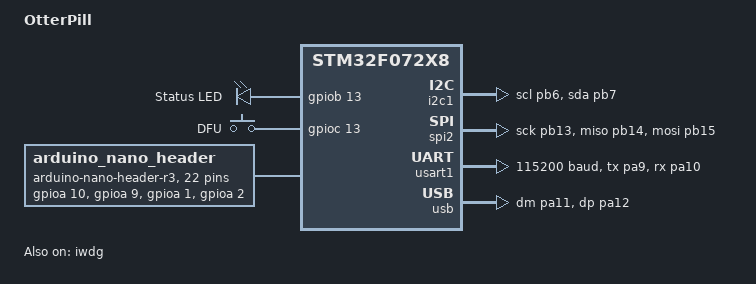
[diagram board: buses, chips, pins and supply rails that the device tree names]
/dts-v1/;
#include <st/f0/stm32f072X8.dtsi>
#include <st/f0/stm32f072c(8-b)tx-pinctrl.dtsi>
#include <zephyr/dt-bindings/input/input-event-codes.h>

/ {
	model = "OtterPill";

	chosen {
		zephyr,console = &usart1;
		zephyr,sram = &sram0;
		zephyr,flash = &flash0;
	};

	leds {
		compatible = "gpio-leds";
		led_status: led_status {
			gpios = <&gpiob 13 GPIO_ACTIVE_HIGH>;
			label = "Status LED";
		};
	};

    gpio_keys {
        compatible = "gpio-keys";
        dfu_button: button {
            label = "DFU";
            gpios = <&gpioc 13 GPIO_ACTIVE_HIGH>;
            zephyr,code = <INPUT_KEY_0>;
        };
    };

	aliases {
		led0 = &led_status;
        sw0 = &dfu_button;
        watchdog0 = &iwdg;
	};

    arduino_nano_header: connector {
        compatible = "arduino-nano-header-r3";
        #gpio-cells = <2>;
        gpio-map-mask = <0xffffffff 0xffffffc0>;
        gpio-map-pass-thru = <0 0x3f>;
        gpio-map =
            <0 0 &gpioa 10 0>,  /* D0 / UART1-RX */
            <1 0 &gpioa 9 0>,   /* D1 / UART1-TX */
            <2 0 &gpioa 1 0>,   /* D2 */
            <3 0 &gpioa 2 0>,   /* D3 */
            <4 0 &gpioa 3  0>,  /* D4 */
            <5 0 &gpioa 4 0>,   /* D5 */
            <6 0 &gpioa 5 0>,   /* D6 */
            <7 0 &gpioa 6 0>,   /* D7 */
            <8 0 &gpioa 7 0>,   /* D8 */
            <9 0 &gpiob 12 0>,  /* D9 */
            <10 0 &gpiob 0 0>,  /* D10 */
            <11 0 &gpiob 15 0>, /* D11 / SPI2-MOSI */
            <12 0 &gpiob 14 0>, /* D12 / SPI2-MISO */
            <13 0 &gpiob 13 0>, /* D13 / SPI2-SCK */
            <14 0 &gpiob 1 0>,  /* D14 */
            <15 0 &gpiob 8 0>,  /* D15 */
            <16 0 &gpioa 15 0>, /* D16 */
            <17 0 &gpiob 2 0>,  /* D17 */
            <18 0 &gpiob 7 0>,  /* D18 / I2C1-SDA */
            <19 0 &gpiob 6 0>,  /* D19 / I2C1-SCL */
            <20 0 &gpiob 3 0>,  /* D20 */
            <21 0 &gpiob 4 0>;  /* D21 */
    };
};

&clk_hsi {
	status = "okay";
};

&pll {
	prediv = <1>;
	mul = <6>;
	clocks = <&clk_hsi>;
	status = "okay";
};

&rcc {
	clocks = <&pll>;
	clock-frequency = <DT_FREQ_M(48)>;
	ahb-prescaler = <1>;
	apb1-prescaler = <1>;
};

&iwdg {
    status = "okay";
};

arduino_nano_i2c: &i2c1 {};
arduino_nano_spi: &spi2 {};
arduino_nano_serial: &usart1 {};

zephyr_udc0: &usb {
    pinctrl-0 = <&usb_dm_pa11 &usb_dp_pa12>;
    pinctrl-names = "default";
};

&usart1 {
    status = "okay";
    pinctrl-0 = <&usart1_tx_pa9 &usart1_rx_pa10>;
    pinctrl-names = "default";
    current-speed = <115200>;
};

&i2c1 {
    status = "okay";
    pinctrl-0 = <&i2c1_scl_pb6 &i2c1_sda_pb7>;
    pinctrl-names = "default";
};

&spi2 {
    status = "okay";
    pinctrl-0 = <&spi2_sck_pb13 &spi2_miso_pb14 &spi2_mosi_pb15>;
    pinctrl-names = "default";
};
